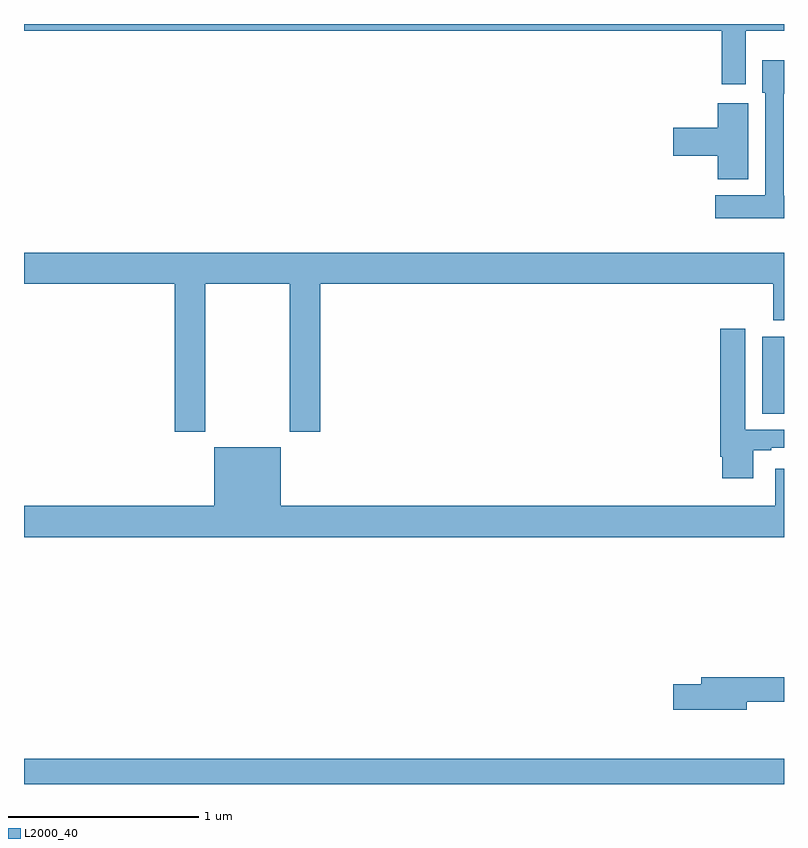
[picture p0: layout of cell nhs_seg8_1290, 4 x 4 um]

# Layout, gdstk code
import gdstk
lib = gdstk.Library(unit=1e-6, precision=1e-09)
def R(c, l, rs):  # rectangles x0, y0, x1, y1
    for r in rs: c.add(gdstk.rectangle(r[:2], r[2:], *l))
def P(c, l, *ps):  # polygons
    for p in ps: c.add(gdstk.Polygon(p, *l))
L2000_40 = (2000, 40)

nhs_seg8_1290 = lib.new_cell('nhs_seg8_1290')
R(nhs_seg8_1290, L2000_40, [(193,1081.9,197,1082.032), (196.886,1083.85,197,1084.255)])
P(nhs_seg8_1290, L2000_40, [(196.798,1085.864),(197,1085.864),(197,1085.9),(193,1085.9),(193,1085.864),(196.673,1085.864),(196.673,1085.583),(196.798,1085.583)],
  [(197,1084.995),(196.998,1084.995),(196.998,1085.534),(197,1085.534),(197,1085.71),(196.886,1085.71),(196.886,1085.538),(196.902,1085.538),(196.902,1084.999),(196.638,1084.999),(196.638,1084.877),(197,1084.877)],
  [(196.813,1085.482),(196.652,1085.482),(196.652,1085.354),(196.416,1085.354),(196.416,1085.207),(196.652,1085.207),(196.652,1085.084),(196.813,1085.084)],
  [(193.953,1084.532),(194.398,1084.532),(194.398,1083.753),(194.558,1083.753),(194.558,1084.532),(196.943,1084.532),(196.943,1084.34),(197,1084.34),(197,1084.696),(193,1084.696),(193,1084.532),(193.793,1084.532),(193.793,1083.753),(193.953,1083.753)],
  [(196.837,1083.657),(196.933,1083.657),(196.933,1083.669),(197,1083.669),(197,1083.765),(196.795,1083.765),(196.795,1084.297),(196.664,1084.297),(196.664,1083.622),(196.676,1083.622),(196.676,1083.51),(196.837,1083.51)],
  [(197,1083.559),(196.955,1083.559),(196.955,1083.364),(194.35,1083.364),(194.35,1083.673),(194,1083.673),(194,1083.364),(193,1083.364),(193,1083.2),(197,1083.2)],
  [(196.804,1082.334),(197,1082.334),(197,1082.462),(196.565,1082.462),(196.565,1082.426),(196.416,1082.426),(196.416,1082.291),(196.804,1082.291)])

lib.write_gds('nhs_seg8_1290.gds')
